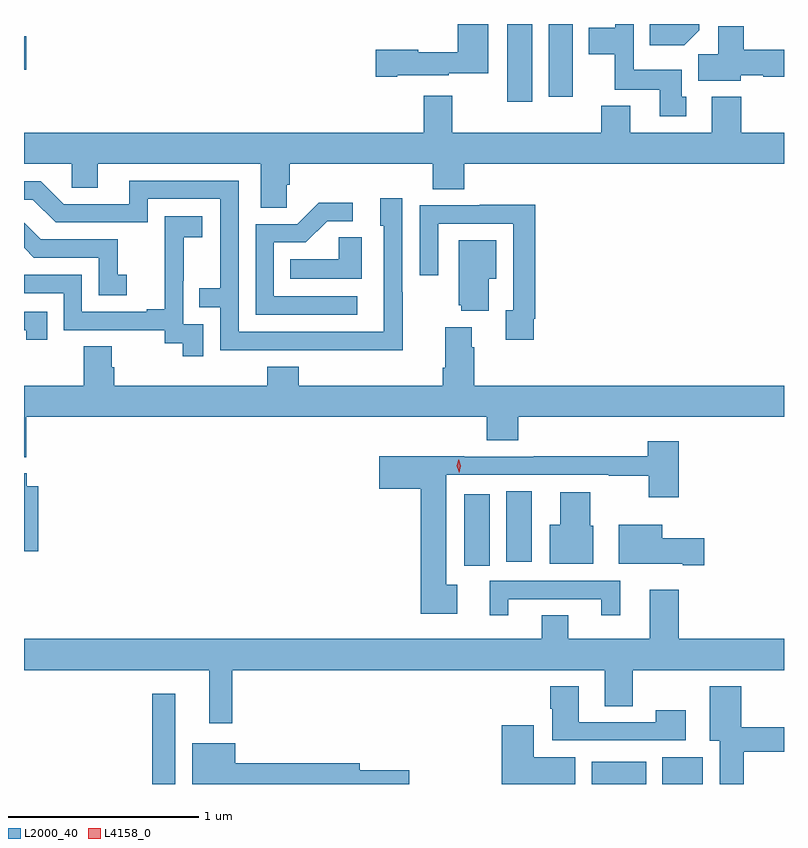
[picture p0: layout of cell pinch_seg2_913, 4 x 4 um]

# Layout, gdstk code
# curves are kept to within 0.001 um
import gdstk
lib = gdstk.Library(unit=1e-6, precision=1e-09)
def R(c, l, rs):  # rectangles x0, y0, x1, y1
    for r in rs: c.add(gdstk.rectangle(r[:2], r[2:], *l))
def P(c, l, *ps):  # polygons
    for p in ps: c.add(gdstk.Polygon(p, *l))
L2000_40 = (2000, 40)
L4158_0 = (4158, 0)

pinch_seg2_913 = lib.new_cell('pinch_seg2_913')
R(pinch_seg2_913, L2000_40, [(587.736,648.368,587.857,648.844), (590.048,648.368,590.335,648.484), (590.42,648.368,590.632,648.508), (589.376,649.518,589.51,649.894), (589.598,649.539,589.732,649.91), (589.604,651.96,589.735,652.368), (589.823,651.984,589.948,652.368), (587.06,652.126,587.071,652.304)])
P(pinch_seg2_913, L2000_40, [(589.024,652.097),(589.296,652.097),(589.296,652.109),(589.504,652.109),(589.504,652.368),(589.342,652.368),(589.342,652.219),(589.134,652.219),(589.134,652.232),(588.912,652.232),(588.912,652.09),(589.024,652.09)],
  [(590.545,651.984),(590.521,651.984),(590.521,652.126),(590.268,652.126),(590.268,652.368),(590.172,652.368),(590.172,652.348),(590.033,652.348),(590.033,652.208),(590.17,652.208),(590.17,652.022),(590.405,652.022),(590.405,651.882),(590.545,651.882)],
  [(590.614,652.334),(590.614,652.368),(590.353,652.368),(590.353,652.256),(590.536,652.256)],
  [(590.832,652.097),(590.952,652.097),(590.952,652.09),(591.06,652.09),(591.06,652.232),(590.849,652.232),(590.849,652.357),(590.714,652.357),(590.714,652.208),(590.609,652.208),(590.609,652.07),(590.832,652.07)],
  [(588.444,651.523),(588.458,651.523),(588.458,651.632),(589.211,651.632),(589.211,651.499),(589.376,651.499),(589.376,651.632),(591.06,651.632),(591.06,651.796),(590.834,651.796),(590.834,651.985),(590.681,651.985),(590.681,651.796),(590.251,651.796),(590.251,651.937),(590.099,651.937),(590.099,651.796),(589.315,651.796),(589.315,651.991),(589.163,651.991),(589.163,651.796),(587.06,651.796),(587.06,651.632),(587.31,651.632),(587.31,651.505),(587.449,651.505),(587.449,651.632),(588.305,651.632),(588.305,651.4),(588.444,651.4)],
  [(589.053,650.957),(589.05,650.957),(589.05,651.451),(588.935,651.451),(588.935,651.306),(588.954,651.306),(588.954,650.748),(588.189,650.748),(588.189,651.543),(587.615,651.543),(587.615,651.42),(587.268,651.42),(587.148,651.54),(587.06,651.54),(587.06,651.444),(587.106,651.444),(587.226,651.324),(587.712,651.324),(587.712,651.447),(588.093,651.447),(588.093,650.978),(587.983,650.978),(587.983,650.877),(588.093,650.877),(588.093,650.652),(589.053,650.651)],
  [(588.814,650.934),(588.375,650.934),(588.375,651.219),(588.544,651.219),(588.655,651.33),(588.79,651.33),(588.79,651.428),(588.611,651.428),(588.498,651.315),(588.279,651.315),(588.279,650.838),(588.814,650.838)],
  [(589.744,650.818),(589.751,650.818),(589.751,651.416),(589.459,651.416),(589.459,651.414),(589.143,651.414),(589.143,651.045),(589.239,651.045),(589.239,651.318),(589.635,651.318),(589.635,650.862),(589.595,650.862),(589.595,650.706),(589.744,650.706)],
  [(588.003,650.787),(587.898,650.787),(587.898,651.017),(587.9,651.017),(587.9,651.245),(587.998,651.245),(587.998,651.355),(587.8,651.355),(587.8,651.149),(587.801,651.149),(587.801,650.866),(587.705,650.866),(587.705,650.853),(587.364,650.853),(587.364,651.048),(587.06,651.048),(587.06,650.952),(587.268,650.952),(587.268,650.757),(587.802,650.757),(587.802,650.689),(587.895,650.689),(587.895,650.619),(588.003,650.619)],
  [(587.602,651.049),(587.553,651.049),(587.553,651.234),(587.149,651.234),(587.06,651.323),(587.06,651.19),(587.112,651.138),(587.454,651.138),(587.454,650.94),(587.602,650.94)],
  [(588.838,651.245),(588.717,651.245),(588.717,651.13),(588.46,651.13),(588.46,651.026),(588.838,651.026)],
  [(589.507,651.026),(589.546,651.026),(589.546,651.229),(589.349,651.229),(589.349,650.889),(589.361,650.889),(589.361,650.858),(589.507,650.858)],
  [(587.183,650.853),(587.06,650.853),(587.06,650.757),(587.072,650.757),(587.072,650.706),(587.183,650.706)],
  [(587.072,650.3),(589.496,650.3),(589.496,650.176),(589.661,650.176),(589.661,650.3),(591.06,650.3),(591.06,650.464),(589.43,650.464),(589.43,650.666),(589.417,650.666),(589.417,650.773),(589.277,650.773),(589.277,650.56),(589.265,650.56),(589.265,650.464),(588.506,650.464),(588.506,650.563),(588.341,650.563),(588.341,650.464),(587.534,650.464),(587.534,650.562),(587.521,650.562),(587.521,650.672),(587.374,650.672),(587.374,650.464),(587.06,650.464),(587.06,650.089),(587.072,650.089)],
  [(589.339,649.418),(589.282,649.418),(589.282,649.995),(590.137,649.995),(590.137,649.99),(590.347,649.99),(590.347,649.878),(590.507,649.878),(590.507,650.173),(590.342,650.173),(590.342,650.093),(589.744,650.093),(589.744,650.091),(589.378,650.091),(589.378,650.093),(588.93,650.093),(588.93,649.922),(589.148,649.922),(589.148,649.265),(589.339,649.265)],
  [(587.134,649.936),(587.075,649.936),(587.075,650.004),(587.06,650.004),(587.06,649.592),(587.134,649.592)],
  [(590.056,649.728),(590.041,649.728),(590.041,649.903),(589.883,649.903),(589.883,649.732),(589.826,649.732),(589.826,649.526),(590.056,649.526)],
  [(590.641,649.661),(590.419,649.661),(590.419,649.732),(590.189,649.732),(590.189,649.526),(590.528,649.526),(590.528,649.519),(590.641,649.519)],
  [(589.609,649.341),(590.099,649.341),(590.099,649.257),(590.197,649.257),(590.197,649.437),(589.511,649.437),(589.511,649.257),(589.609,649.257)],
  [(588.157,648.968),(590.117,648.968),(590.117,648.778),(590.265,648.778),(590.265,648.968),(591.06,648.968),(591.06,649.132),(590.507,649.132),(590.507,649.39),(590.354,649.39),(590.354,649.132),(589.924,649.132),(589.924,649.256),(589.784,649.256),(589.784,649.132),(587.06,649.132),(587.06,648.968),(588.035,648.968),(588.035,648.687),(588.157,648.687)],
  [(590.849,648.538),(591.06,648.538),(591.06,648.667),(590.836,648.667),(590.836,648.883),(590.669,648.883),(590.669,648.596),(590.723,648.596),(590.723,648.368),(590.849,648.368)],
  [(590.542,648.757),(590.386,648.757),(590.386,648.693),(589.981,648.693),(589.981,648.883),(589.829,648.883),(589.829,648.763),(589.841,648.763),(589.841,648.597),(590.542,648.597)],
  [(589.96,648.508),(589.744,648.508),(589.744,648.676),(589.574,648.676),(589.574,648.368),(589.96,648.368)],
  [(589.087,648.44),(588.826,648.44),(588.826,648.476),(588.172,648.476),(588.172,648.583),(587.945,648.583),(587.945,648.368),(589.087,648.368)])
P(pinch_seg2_913, L4158_0, [(589.35,650.006),(589.35,650.006),(589.338,650.042),(589.347,650.078),(589.347,650.078),(589.347,650.078),(589.358,650.042),(589.35,650.006)])

lib.write_gds('pinch_seg2_913.gds')
